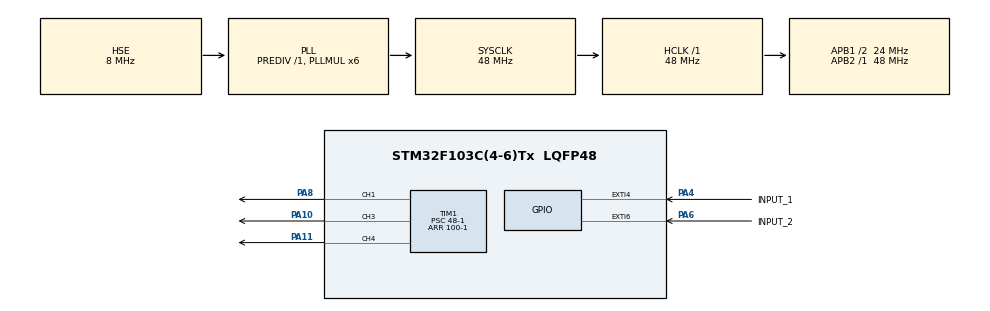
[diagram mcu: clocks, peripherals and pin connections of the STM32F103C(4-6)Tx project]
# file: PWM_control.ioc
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Dma.Request0=TIM1_CH1
Dma.Request1=TIM1_CH3
Dma.TIM1_CH1.0.Direction=DMA_MEMORY_TO_PERIPH
Dma.TIM1_CH1.0.Instance=DMA1_Channel2
Dma.TIM1_CH1.0.MemDataAlignment=DMA_MDATAALIGN_HALFWORD
Dma.TIM1_CH1.0.MemInc=DMA_MINC_ENABLE
Dma.TIM1_CH1.0.Mode=DMA_NORMAL
Dma.TIM1_CH1.0.PeriphDataAlignment=DMA_PDATAALIGN_HALFWORD
Dma.TIM1_CH1.0.PeriphInc=DMA_PINC_DISABLE
Dma.TIM1_CH1.0.Priority=DMA_PRIORITY_LOW
Dma.TIM1_CH3.1.Direction=DMA_MEMORY_TO_PERIPH
Dma.TIM1_CH3.1.Instance=DMA1_Channel6
Dma.TIM1_CH3.1.MemDataAlignment=DMA_MDATAALIGN_HALFWORD
Dma.TIM1_CH3.1.MemInc=DMA_MINC_ENABLE
Dma.TIM1_CH3.1.Mode=DMA_NORMAL
Dma.TIM1_CH3.1.PeriphDataAlignment=DMA_PDATAALIGN_HALFWORD
Dma.TIM1_CH3.1.PeriphInc=DMA_PINC_DISABLE
Dma.TIM1_CH3.1.Priority=DMA_PRIORITY_LOW
Mcu.Family=STM32F1
Mcu.Name=STM32F103C(4-6)Tx
Mcu.Package=LQFP48
NVIC.DMA1_Channel2_IRQn=true\:0\:0\:false\:false\:true\:false\:true\:true
NVIC.DMA1_Channel6_IRQn=true\:0\:0\:false\:false\:true\:false\:true\:true
NVIC.EXTI4_IRQn=true\:0\:0\:false\:false\:true\:true\:true\:true
NVIC.EXTI9_5_IRQn=true\:0\:0\:false\:false\:true\:true\:true\:true
NVIC.PriorityGroup=NVIC_PRIORITYGROUP_4
NVIC.TIM3_IRQn=true\:0\:0\:false\:false\:true\:true\:true\:true
PA10.Signal=S_TIM1_CH3
PA11.Signal=S_TIM1_CH4
PA13.Mode=Trace_Asynchronous_SW
PA13.Signal=SYS_JTMS-SWDIO
PA14.Mode=Trace_Asynchronous_SW
PA14.Signal=SYS_JTCK-SWCLK
PA4.GPIO_Label=INPUT_1
PA4.GPIO_ModeDefaultEXTI=GPIO_MODE_IT_RISING_FALLING
PA4.Signal=GPXTI4
PA6.GPIO_Label=INPUT_2
PA6.GPIO_ModeDefaultEXTI=GPIO_MODE_IT_RISING_FALLING
PA6.GPIO_PuPd=GPIO_NOPULL
PA6.Signal=GPXTI6
PA8.Signal=S_TIM1_CH1
PB3.Mode=Trace_Asynchronous_SW
PB3.Signal=SYS_JTDO-TRACESWO
PD0-OSC_IN.Mode=HSE-External-Oscillator
PD0-OSC_IN.Signal=RCC_OSC_IN
PD1-OSC_OUT.Mode=HSE-External-Oscillator
PD1-OSC_OUT.Signal=RCC_OSC_OUT
ProjectManager.HeapSize=0x200
ProjectManager.StackSize=0x400
ProjectManager.TargetToolchain=STM32CubeIDE
RCC.AHBFreq_Value=48000000
RCC.APB1CLKDivider=RCC_HCLK_DIV2
RCC.APB1Freq_Value=24000000
RCC.APB1TimFreq_Value=48000000
RCC.APB2Freq_Value=48000000
RCC.APB2TimFreq_Value=48000000
RCC.HCLKFreq_Value=48000000
RCC.PLLMUL=RCC_PLL_MUL6
RCC.PLLSourceVirtual=RCC_PLLSOURCE_HSE
RCC.SYSCLKFreq_VALUE=48000000
RCC.SYSCLKSource=RCC_SYSCLKSOURCE_PLLCLK
RCC.USBFreq_Value=48000000
SH.S_TIM1_CH1.0=TIM1_CH1,PWM Generation1 CH1
SH.S_TIM1_CH3.0=TIM1_CH3,PWM Generation3 CH3
SH.S_TIM1_CH4.0=TIM1_CH4,PWM Generation4 CH4
TIM1.Channel-PWM\ Generation1\ CH1=TIM_CHANNEL_1
TIM1.Channel-PWM\ Generation3\ CH3=TIM_CHANNEL_3
TIM1.Channel-PWM\ Generation4\ CH4=TIM_CHANNEL_4
TIM1.Period=100-1
TIM1.Prescaler=48-1
TIM2.Prescaler=600-1
TIM3.Period=10000
VP_TIM1_VS_ClockSourceINT.Mode=Internal
VP_TIM2_VS_ClockSourceINT.Mode=Internal
VP_TIM3_VS_ClockSourceINT.Mode=Internal
board=custom

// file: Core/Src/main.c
/* USER CODE BEGIN Header */
/**
  ******************************************************************************
  * @file           : main.c
  * @brief          : Main program body
  ******************************************************************************
  * @attention
  *
  * Copyright (c) 2024 STMicroelectronics.
  * All rights reserved.
  *
  * This software is licensed under terms that can be found in the LICENSE file
  * in the root directory of this software component.
  * If no LICENSE file comes with this software, it is provided AS-IS.
  *
  ******************************************************************************
  */
/* USER CODE END Header */
#include "main.h"
#include "dma.h"
#include "tim.h"
#include "gpio.h"

/* USER CODE BEGIN PTD */
typedef struct gpio{
    GPIO_TypeDef *port;
    uint16_t pin;
}gpio;
/* USER CODE END PTD */

/* USER CODE BEGIN PD */
#define KLIPPER_PWM_CYCLE_TIME 0.002
#define KLIPPER_PWM_FREQUENCY 1/KLIPPER_PWM_CYCLE_TIME

/* USER CODE END PD */

/* USER CODE BEGIN PM */
//overwrite printf
int _write(int file, char *ptr, int len)
{
    int DataIdx;
    for (DataIdx = 0; DataIdx < len; DataIdx++)
    {
        ITM_SendChar(*ptr++);
    }
    return len;
}
/* USER CODE END PM */

/* USER CODE BEGIN PV */
gpio pwm1 = {INPUT_1_GPIO_Port, INPUT_1_Pin};
gpio pwm2 = {INPUT_2_GPIO_Port, INPUT_2_Pin};
/* USER CODE END PV */

void SystemClock_Config(void);
/* USER CODE BEGIN PFP */

void ESC_init_sequence(TIM_HandleTypeDef *handle, uint8_t channel){
    __HAL_TIM_SET_COMPARE(handle, channel, 0);
    HAL_Delay(2000);
    __HAL_TIM_SET_COMPARE(handle, channel, 50);
    HAL_Delay(2000);
    __HAL_TIM_SET_COMPARE(handle, channel, 0);

}
/* USER CODE END PFP */

/* USER CODE BEGIN 0 */
uint8_t PWM_IN_1 = 0;
uint8_t PWM_IN_2 = 0;

uint32_t Frequency = 0;
uint8_t interrupt_number_flag = 0;
uint8_t StartStopFlag = 0;
uint32_t main_frequency=0;

void TIM3_IRQ(void){
    switch(interrupt_number_flag) {
        case 0:
//            measure_PWM(pwm2, &PWM_IN_2);
            interrupt_number_flag = 1;

//            if(StartStopFlag==0 && HAL_GPIO_ReadPin(pwm1.port, pwm1.pin) == 1){
//                PWM_IN_1=100;
//            } else if(StartStopFlag==0 && HAL_GPIO_ReadPin(pwm1.port, pwm1.pin) == 0){
//                PWM_IN_1=0;
//            }
            StartStopFlag = 0;

            break;
        case 1:
//            measure_PWM(pwm2, &PWM_IN_1);
            interrupt_number_flag = 0;

//            if(StartStopFlag==0 && HAL_GPIO_ReadPin(pwm2.port, pwm2.pin) == 1){
//                PWM_IN_2=100;
//            } else if(StartStopFlag==0 && HAL_GPIO_ReadPin(pwm2.port, pwm2.pin) == 0){
//                PWM_IN_2=0;
//            }
            StartStopFlag = 0;

            break;
        default:
            break;
    }

}

void HAL_GPIO_EXTI_Callback(uint16_t GPIO_Pin)
{
    switch(interrupt_number_flag) {
        case 0:
            if (GPIO_Pin == pwm1.pin && StartStopFlag ==0 && HAL_GPIO_ReadPin(pwm1.port, pwm1.pin) == 1){
                __HAL_TIM_SET_COUNTER(&htim2, 0);
//                HAL_TIM_Base_Start(&htim2);
                StartStopFlag = 1;
            }
            else if (GPIO_Pin == pwm1.pin && StartStopFlag ==1&& HAL_GPIO_ReadPin(pwm1.port, pwm1.pin) == 0){
//                HAL_TIM_Base_Stop(&htim2);
                StartStopFlag = 2;
//                uint32_t IC_Value1 = TIM2->CNT;
                PWM_IN_1 = TIM2->CNT*(htim2.Init.Prescaler+1)*100/( main_frequency *KLIPPER_PWM_CYCLE_TIME);
            }
            break;
        case 1:
            if (GPIO_Pin == pwm2.pin && StartStopFlag ==0 && HAL_GPIO_ReadPin(pwm2.port, pwm2.pin) == 1){
                __HAL_TIM_SET_COUNTER(&htim2, 0);
//                HAL_TIM_Base_Start(&htim2);
                StartStopFlag = 1;
            }
            else if (GPIO_Pin == pwm2.pin && StartStopFlag ==1&& HAL_GPIO_ReadPin(pwm2.port, pwm2.pin) == 0){
//                HAL_TIM_Base_Stop(&htim2);
                StartStopFlag = 2;
                uint32_t IC_Value1 = TIM2->CNT;
                PWM_IN_2 = IC_Value1*(htim2.Init.Prescaler+1)*100/( main_frequency *KLIPPER_PWM_CYCLE_TIME);
            }
            break;
        default:
            break;
    }

}

/* USER CODE END 0 */

int main(void)
{

  /* MCU Configuration--------------------------------------------------------*/

  /* Reset of all peripherals, Initializes the Flash interface and the Systick. */
  HAL_Init();

  /* Configure the system clock */
  SystemClock_Config();

  /* USER CODE BEGIN SysInit */
    main_frequency = HAL_RCC_GetSysClockFreq();

  /* USER CODE END SysInit */

  /* Initialize all configured peripherals */
  MX_GPIO_Init();
  MX_DMA_Init();
  MX_TIM1_Init();
  MX_TIM3_Init();
  MX_TIM2_Init();
  /* USER CODE BEGIN 2 */

    HAL_TIM_PWM_Start(&htim1, TIM_CHANNEL_1);
    HAL_TIM_PWM_Start(&htim1, TIM_CHANNEL_3);

    ESC_init_sequence(&htim1, TIM_CHANNEL_1);
    ESC_init_sequence(&htim1, TIM_CHANNEL_3);

    HAL_TIM_Base_Init(&htim3);
    HAL_TIM_Base_Start_IT(&htim3);
    HAL_TIM_Base_Start(&htim2);

  /* USER CODE END 2 */

  /* Infinite loop */
  /* USER CODE BEGIN WHILE */
  while (1)
  {
       if (htim1.Instance->CCR1 != PWM_IN_1 &&htim1.Instance->CCR1 !=0){
          htim1.Instance->CCR1 = PWM_IN_1;
      }else if(htim1.Instance->CCR1 ==0 && PWM_IN_1 !=0){
//          ESC_init_sequence(&htim1, TIM_CHANNEL_1);
            htim1.Instance->CCR1 = PWM_IN_1;
      }

      if (htim1.Instance->CCR3 != PWM_IN_2 &&htim1.Instance->CCR3 !=0){
          htim1.Instance->CCR3 = PWM_IN_2;
      }else if(htim1.Instance->CCR3 ==0 && PWM_IN_2 !=0) {
          ESC_init_sequence(&htim1, TIM_CHANNEL_3);
          htim1.Instance->CCR3 = PWM_IN_2;
      }
    /* USER CODE END WHILE */

  }
}

void SystemClock_Config(void)
{
  RCC_OscInitTypeDef RCC_OscInitStruct = {0};
  RCC_ClkInitTypeDef RCC_ClkInitStruct = {0};

  /** Initializes the RCC Oscillators according to the specified parameters
  * in the RCC_OscInitTypeDef structure.
  */
  RCC_OscInitStruct.OscillatorType = RCC_OSCILLATORTYPE_HSE;
  RCC_OscInitStruct.HSEState = RCC_HSE_ON;
  RCC_OscInitStruct.HSEPredivValue = RCC_HSE_PREDIV_DIV1;
  RCC_OscInitStruct.HSIState = RCC_HSI_ON;
  RCC_OscInitStruct.PLL.PLLState = RCC_PLL_ON;
  RCC_OscInitStruct.PLL.PLLSource = RCC_PLLSOURCE_HSE;
  RCC_OscInitStruct.PLL.PLLMUL = RCC_PLL_MUL6;
  if (HAL_RCC_OscConfig(&RCC_OscInitStruct) != HAL_OK)
  {
    Error_Handler();
  }

  /** Initializes the CPU, AHB and APB buses clocks
  */
  RCC_ClkInitStruct.ClockType = RCC_CLOCKTYPE_HCLK|RCC_CLOCKTYPE_SYSCLK
                              |RCC_CLOCKTYPE_PCLK1|RCC_CLOCKTYPE_PCLK2;
  RCC_ClkInitStruct.SYSCLKSource = RCC_SYSCLKSOURCE_PLLCLK;
  RCC_ClkInitStruct.AHBCLKDivider = RCC_SYSCLK_DIV1;
  RCC_ClkInitStruct.APB1CLKDivider = RCC_HCLK_DIV2;
  RCC_ClkInitStruct.APB2CLKDivider = RCC_HCLK_DIV1;

  if (HAL_RCC_ClockConfig(&RCC_ClkInitStruct, FLASH_LATENCY_1) != HAL_OK)
  {
    Error_Handler();
  }
}

void Error_Handler(void)
{
  __disable_irq();
  while (1)
  {
  }
}
